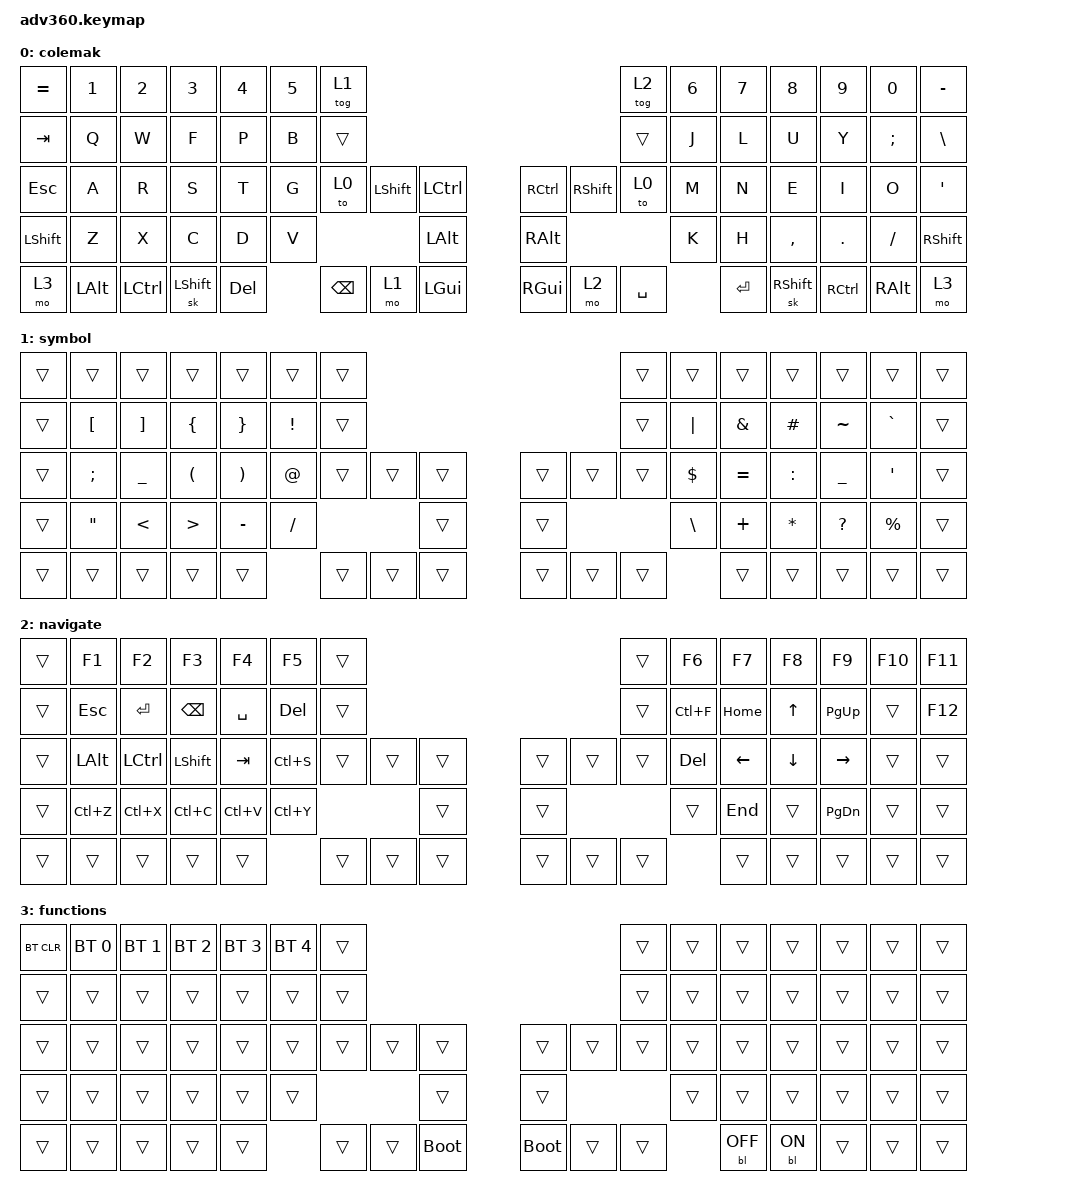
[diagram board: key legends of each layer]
#include <behaviors.dtsi>
#include <dt-bindings/zmk/backlight.h>
#include <dt-bindings/zmk/bt.h>
#include <dt-bindings/zmk/keys.h>

/ {
    behaviors {
        #include "macros.dtsi"
      #include "version.dtsi"
      #ifndef VERSION_MACRO

        macro_ver: macro_ver {
            compatible = "zmk,behavior-macro";
            label = "macro_version";
            #binding-cells = <0>;
            bindings = <&kp RET>;
        };

        #endif

        hm: homerow_mods {
            compatible = "zmk,behavior-hold-tap";
            label = "HOMEROW_MODS";
            #binding-cells = <2>;
            tapping-term-ms = <200>;
            quick_tap_ms = <175>;
            flavor = "tap-preferred";
            bindings = <&kp>, <&kp>;
        };
    };

    macros {
    };

    keymap {
        compatible = "zmk,keymap";

        colemak {
            bindings = <
&kp EQUAL  &kp N1        &kp N2     &kp N3          &kp N4   &kp N5  &tog 1                                                                              &tog 2     &kp N6  &kp N7     &kp N8           &kp N9     &kp N0         &kp MINUS
&kp TAB    &kp Q         &kp W      &kp F           &kp P    &kp B   &trans                                                                              &trans     &kp J   &kp L      &kp U            &kp Y      &kp SEMICOLON  &kp BSLH
&kp ESC    &kp A         &kp R      &kp S           &kp T    &kp G   &to 0     &kp LEFT_SHIFT  &kp LEFT_CONTROL      &kp RIGHT_CONTROL  &kp RIGHT_SHIFT  &to 0      &kp M   &kp N      &kp E            &kp I      &kp O          &kp SQT
&kp LSHFT  &kp Z         &kp X      &kp C           &kp D    &kp V                             &kp LEFT_ALT          &kp RIGHT_ALT                                  &kp K   &kp H      &kp COMMA        &kp DOT    &kp FSLH       &kp RSHFT
&mo 3      &kp LEFT_ALT  &kp LCTRL  &sk LEFT_SHIFT  &kp DEL          &kp BSPC  &mo 1           &kp LEFT_GUI          &kp RIGHT_GUI      &mo 2            &kp SPACE          &kp ENTER  &sk RIGHT_SHIFT  &kp RCTRL  &kp RIGHT_ALT  &mo 3
            >;
        };

        symbol {
            bindings = <
&trans  &trans             &trans          &trans                &trans                 &trans           &trans                                      &trans  &trans      &trans         &trans        &trans          &trans       &trans
&trans  &kp LBKT           &kp RBKT        &kp LEFT_BRACE        &kp RIGHT_BRACE        &kp EXCLAMATION  &trans                                      &trans  &kp PIPE    &kp AMPERSAND  &kp HASH      &kp TILDE       &kp GRAVE    &trans
&trans  &kp SEMICOLON      &kp UNDERSCORE  &kp LEFT_PARENTHESIS  &kp RIGHT_PARENTHESIS  &kp AT_SIGN      &trans  &trans  &trans      &trans  &trans  &trans  &kp DOLLAR  &kp EQUAL      &kp COLON     &kp UNDERSCORE  &kp SQT      &trans
&trans  &kp DOUBLE_QUOTES  &kp LESS_THAN   &kp GREATER_THAN      &kp MINUS              &kp FSLH                         &trans      &trans                  &kp BSLH    &kp PLUS       &kp ASTERISK  &kp QUESTION    &kp PERCENT  &trans
&trans  &trans             &trans          &trans                &trans                                  &trans  &trans  &trans      &trans  &trans  &trans              &trans         &trans        &trans          &trans       &trans
            >;
        };

        navigate {
            bindings = <
&trans  &kp F1        &kp F2     &kp F3          &kp F4     &kp F5      &trans                                      &trans  &kp F6      &kp F7          &kp F8          &kp F9           &kp F10  &kp F11
&trans  &kp ESCAPE    &kp ENTER  &kp BACKSPACE   &kp SPACE  &kp DELETE  &trans                                      &trans  &kp LC(F)   &kp HOME        &kp UP_ARROW    &kp PG_UP        &trans   &kp F12
&trans  &kp LEFT_ALT  &kp LCTRL  &kp LEFT_SHIFT  &kp TAB    &kp LC(S)   &trans  &trans  &trans      &trans  &trans  &trans  &kp DELETE  &kp LEFT_ARROW  &kp DOWN_ARROW  &kp RIGHT_ARROW  &trans   &trans
&trans  &kp LC(Z)     &kp LC(X)  &kp LC(C)       &kp LC(V)  &kp LC(Y)                   &trans      &trans                  &trans      &kp END         &trans          &kp PAGE_DOWN    &trans   &trans
&trans  &trans        &trans     &trans          &trans                 &trans  &trans  &trans      &trans  &trans  &trans              &trans          &trans          &trans           &trans   &trans
            >;
        };

        functions {
            bindings = <
&bt BT_CLR  &bt BT_SEL 0  &bt BT_SEL 1  &bt BT_SEL 2  &bt BT_SEL 3  &bt BT_SEL 4  &trans                                                &trans  &trans  &trans      &trans     &trans  &trans  &trans
&trans      &trans        &trans        &trans        &trans        &trans        &trans                                                &trans  &trans  &trans      &trans     &trans  &trans  &trans
&trans      &trans        &trans        &trans        &trans        &trans        &trans  &trans  &trans           &trans       &trans  &trans  &trans  &trans      &trans     &trans  &trans  &trans
&trans      &trans        &trans        &trans        &trans        &trans                        &trans           &trans                       &trans  &trans      &trans     &trans  &trans  &trans
&trans      &trans        &trans        &trans        &trans                      &trans  &trans  &bootloader      &bootloader  &trans  &trans          &bl BL_OFF  &bl BL_ON  &trans  &trans  &trans
            >;
        };
    };
};
